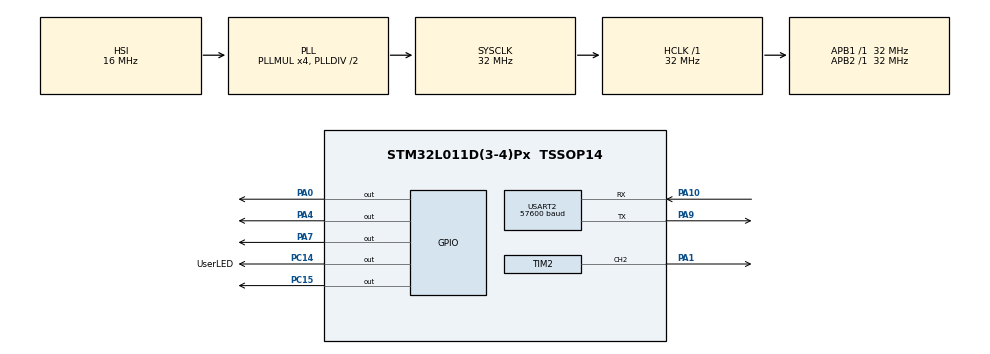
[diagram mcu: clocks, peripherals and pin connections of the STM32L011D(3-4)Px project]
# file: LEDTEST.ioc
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Dma.Request0=TIM2_CH2
Dma.TIM2_CH2.0.Direction=DMA_MEMORY_TO_PERIPH
Dma.TIM2_CH2.0.Instance=DMA1_Channel3
Dma.TIM2_CH2.0.MemDataAlignment=DMA_MDATAALIGN_BYTE
Dma.TIM2_CH2.0.MemInc=DMA_MINC_DISABLE
Dma.TIM2_CH2.0.Mode=DMA_NORMAL
Dma.TIM2_CH2.0.PeriphDataAlignment=DMA_PDATAALIGN_BYTE
Dma.TIM2_CH2.0.PeriphInc=DMA_PINC_DISABLE
Dma.TIM2_CH2.0.Priority=DMA_PRIORITY_HIGH
Mcu.Family=STM32L0
Mcu.Name=STM32L011D(3-4)Px
Mcu.Package=TSSOP14
NVIC.DMA1_Channel2_3_IRQn=true\:0\:0\:false\:false\:true
NVIC.USART2_IRQn=true\:1\:0\:true\:false\:true
PA0-CK_IN.Signal=GPIO_Output
PA1.GPIO_PuPd=GPIO_NOPULL
PA1.GPIO_Speed=GPIO_SPEED_FREQ_VERY_HIGH
PA1.Signal=S_TIM2_CH2
PA10.Mode=Multiprocessor_communication
PA10.Signal=USART2_RX
PA4.Signal=GPIO_Output
PA7.Signal=GPIO_Output
PA9.Mode=Multiprocessor_communication
PA9.Signal=USART2_TX
PC14-OSC32_IN.GPIO_Label=UserLED
PC14-OSC32_IN.GPIO_Speed=GPIO_SPEED_FREQ_MEDIUM
PC14-OSC32_IN.Signal=GPIO_Output
PC15-OSC32_OUT.Signal=GPIO_Output
ProjectManager.HeapSize=0x200
ProjectManager.StackSize=0x400
ProjectManager.TargetToolchain=MDK-ARM V5
RCC.AHBFreq_Value=32000000
RCC.APB1Freq_Value=32000000
RCC.APB1TimFreq_Value=32000000
RCC.APB2Freq_Value=32000000
RCC.APB2TimFreq_Value=32000000
RCC.HCLKFreq_Value=32000000
RCC.HSE_VALUE=8000000
RCC.HSI16_VALUE=16000000
RCC.HSI_VALUE=16000000
RCC.LSE_VALUE=32768
RCC.MSI_VALUE=2097000
RCC.PLLMUL=RCC_PLLMUL_4
RCC.SYSCLKFreq_VALUE=32000000
RCC.SYSCLKSource=RCC_SYSCLKSOURCE_PLLCLK
RCC.VCOOutputFreq_Value=64000000
SH.S_TIM2_CH2.0=TIM2_CH2,PWM Generation2 CH2
TIM2.Channel-PWM\ Generation2\ CH2=TIM_CHANNEL_2
TIM2.OCFastMode_PWM-PWM\ Generation2\ CH2=TIM_OCFAST_ENABLE
TIM2.Period=39
TIM2.Prescaler=0
TIM2.Pulse-PWM\ Generation2\ CH2=0
TIM2.TIM_MasterOutputTrigger=TIM_TRGO_UPDATE
USART2.BaudRate=57600
USART2.WordLength=UART_WORDLENGTH_8B
board=LEDTEST

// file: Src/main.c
/**
  ******************************************************************************
  * File Name          : main.c
  * Description        : Main program body
  ******************************************************************************
  *
  * COPYRIGHT(c) 2016 STMicroelectronics
  *
  * Redistribution and use in source and binary forms, with or without modification,
  * are permitted provided that the following conditions are met:
  *   1. Redistributions of source code must retain the above copyright notice,
  *      this list of conditions and the following disclaimer.
  *   2. Redistributions in binary form must reproduce the above copyright notice,
  *      this list of conditions and the following disclaimer in the documentation
  *      and/or other materials provided with the distribution.
  *   3. Neither the name of STMicroelectronics nor the names of its contributors
  *      may be used to endorse or promote products derived from this software
  *      without specific prior written permission.
  *
  * THIS SOFTWARE IS PROVIDED BY THE COPYRIGHT HOLDERS AND CONTRIBUTORS "AS IS"
  * AND ANY EXPRESS OR IMPLIED WARRANTIES, INCLUDING, BUT NOT LIMITED TO, THE
  * IMPLIED WARRANTIES OF MERCHANTABILITY AND FITNESS FOR A PARTICULAR PURPOSE ARE
  * DISCLAIMED. IN NO EVENT SHALL THE COPYRIGHT HOLDER OR CONTRIBUTORS BE LIABLE
  * FOR ANY DIRECT, INDIRECT, INCIDENTAL, SPECIAL, EXEMPLARY, OR CONSEQUENTIAL
  * DAMAGES (INCLUDING, BUT NOT LIMITED TO, PROCUREMENT OF SUBSTITUTE GOODS OR
  * SERVICES; LOSS OF USE, DATA, OR PROFITS; OR BUSINESS INTERRUPTION) HOWEVER
  * CAUSED AND ON ANY THEORY OF LIABILITY, WHETHER IN CONTRACT, STRICT LIABILITY,
  * OR TORT (INCLUDING NEGLIGENCE OR OTHERWISE) ARISING IN ANY WAY OUT OF THE USE
  * OF THIS SOFTWARE, EVEN IF ADVISED OF THE POSSIBILITY OF SUCH DAMAGE.
  *
  ******************************************************************************
  */
#include "stm32l0xx_hal.h"

/* USER CODE BEGIN Includes */

char RxData[11]={'0'};
uint8_t MyColor[3]={0};

#define UserLED_Toggle()	 HAL_GPIO_TogglePin(UserLED_GPIO_Port,UserLED_Pin)
#define UserLED_ON()  		 HAL_GPIO_WritePin(UserLED_GPIO_Port,UserLED_Pin,GPIO_PIN_SET)
#define UserLED_OFF() 		 HAL_GPIO_WritePin(UserLED_GPIO_Port,UserLED_Pin,GPIO_PIN_RESET)

#define numLEDs 9

/* USER CODE END Includes */

TIM_HandleTypeDef htim2;
DMA_HandleTypeDef hdma_tim2_ch2;

UART_HandleTypeDef huart2;

/* USER CODE BEGIN PV */
/* Private variables ---------------------------------------------------------*/
TIM_OC_InitTypeDef mysConfigOC;
/* USER CODE END PV */

void SystemClock_Config(void);
void Error_Handler(void);
static void MX_GPIO_Init(void);
static void MX_DMA_Init(void);
static void MX_USART2_UART_Init(void);
static void MX_TIM2_Init(void);

void HAL_TIM_MspPostInit(TIM_HandleTypeDef *htim);

/* USER CODE BEGIN PFP */
/* Private function prototypes -----------------------------------------------*/
#ifdef __GNUC__
/* With GCC/RAISONANCE, small printf (option LD Linker->Libraries->Small printf
   set to 'Yes') calls __io_putchar() */
#define PUTCHAR_PROTOTYPE int __io_putchar(int ch)
#else
#define PUTCHAR_PROTOTYPE int fputc(int ch, FILE *f)
#endif /* __GNUC__ */
/**
  * @brief  Retargets the C library printf function to the USART.
  * @param  None
  * @retval None
  */
PUTCHAR_PROTOTYPE
{
  /* Place your implementation of fputc here */
  /* e.g. write a character to the USART2 and Loop until the end of transmission */
  HAL_UART_Transmit(&huart2, (uint8_t *)&ch, 1,100);

  return ch;
}
/* USER CODE END PFP */

/* USER CODE BEGIN 0 */

void Din_1(void)
{
	__HAL_TIM_SET_COMPARE(&htim2, TIM_CHANNEL_2, 26);
}
void Din_0(void)
{
	__HAL_TIM_SET_COMPARE(&htim2, TIM_CHANNEL_2, 13);
}

void Send_8bits(uint8_t dat)
{
		uint8_t i;
		Din_0();
		for(i=0;i<8;i++)
		{
			if(dat & 0x80)//1,for "1",H:0.8us,L:0.45us;
			{
				Din_1();
			}
			else 	//0 ,for "0",H:0.4us,L:	0.85us
			{
			 Din_0();
			}
		   dat=dat<<1;
	 }
}
//G--R--B
//MSB first
void Send_2811_24bits(uint8_t GData,uint8_t RData,uint8_t BData)
 {
	Send_8bits(GData);
	Send_8bits(RData);
	Send_8bits(BData);
 }

 void rst()
{
	 __HAL_TIM_SetCompare(&htim2, TIM_CHANNEL_2, 0);
	 //HAL_TIM_PWM_Start(&htim2, TIM_CHANNEL_2);
	 HAL_Delay (1);
}

uint8_t AscillToNum(char mychar)
{
	uint8_t num=0;
	switch(mychar)
	{
		case '0':num=0;break;
		case '1':num=1;break;
		case '2':num=2;break;
		case '3':num=3;break;
		case '4':num=4;break;
		case '5':num=5;break;
		case '6':num=6;break;
		case '7':num=7;break;
		case '8':num=8;break;
		case '9':num=9;break;
	}
	return num;
}

typedef uint8_t  echoDeng_u8Type;

echoDeng_u8Type rBuffer[numLEDs]={0};
echoDeng_u8Type gBuffer[numLEDs]={0};
echoDeng_u8Type bBuffer[numLEDs]={0};

void setAllPixelColor(uint8_t r, uint8_t g, uint8_t b)
{
				echoDeng_u8Type i=0;
				for(i=0;i<numLEDs;i++)
				{
					rBuffer[i]=r;
					gBuffer[i]=g;
					bBuffer[i]=b;
				}
				for(i=0;i<numLEDs;i++)
				{
						Send_2811_24bits(rBuffer[i],gBuffer[i],bBuffer[i]);
				}
 }
 void setPixelColor(uint16_t n, uint8_t r, uint8_t g, uint8_t b)
 {
				echoDeng_u8Type i=0;
				rBuffer[n]=r;
				gBuffer[n]=g;
				bBuffer[n]=b;
				for(i=0;i<numLEDs;i++)
				{
						Send_2811_24bits(rBuffer[i],gBuffer[i],bBuffer[i]);
				}
 }
  void SetPixelColor(uint16_t n, uint32_t c)
 {
				echoDeng_u8Type i=0;
				rBuffer[n]=(uint8_t)(c>>16);
				gBuffer[n]=(uint8_t)(c>>8);
				bBuffer[n]=(uint8_t)c;
				for(i=0;i<numLEDs;i++)
				{
						Send_2811_24bits(rBuffer[i],gBuffer[i],bBuffer[i]);
				}
 }
void PixelUpdate()
{
	rst();
}
uint32_t Color(uint8_t r, uint8_t g, uint8_t b)
{
  return ((uint32_t)r << 16) | ((uint32_t)g <<  8) | b;
}
uint32_t Wheel(uint8_t WheelPos)
{
  WheelPos = 255 - WheelPos;
  if(WheelPos < 85)
	{
    return Color(255 - WheelPos * 3, 0, WheelPos * 3);
  }
  if(WheelPos < 170) {
    WheelPos -= 85;
    return Color(0, WheelPos * 3, 255 - WheelPos * 3);
  }
  WheelPos -= 170;
  return Color(WheelPos * 3, 255 - WheelPos * 3, 0);
}
//彩虹
void rainbow(uint8_t wait)
{
  uint16_t i, j;

  for(j=0; j<256; j++)
	{
    for(i=0; i<numLEDs; i++)
		{
      SetPixelColor(i, Wheel((i+j) & 255));
    }
		PixelUpdate();
    HAL_Delay (wait);
  }
}
// Slightly different, this makes the rainbow equally distributed throughout
void rainbowCycle(uint8_t wait)
{
  uint16_t i, j;

  for(j=0; j<256*5; j++)
	{ // 5 cycles of all colors on wheel
    for(i=0; i< numLEDs; i++)
	 {
     SetPixelColor(i, Wheel(((i * 256 / numLEDs) + j) & 255));
    }
	  PixelUpdate();
    HAL_Delay (wait);
  }
}
//Theatre-style crawling lights.呼吸灯
void theaterChase(uint32_t c, uint8_t wait)
{
  for (int j=0; j<10; j++)
	{  //do 10 cycles of chasing
    for (int q=0; q < 3; q++)
		{
      for (uint16_t i=0; i < numLEDs; i=i+3)
			{
        SetPixelColor(i+q, c);    //turn every third pixel on
      }
			PixelUpdate();
      HAL_Delay(wait);

      for (uint16_t i=0; i < numLEDs; i=i+3)
			{
       SetPixelColor(i+q, 0);        //turn every third pixel off
      }
			PixelUpdate();
    }
  }
}

//Theatre-style crawling lights with rainbow effect
void theaterChaseRainbow(uint8_t wait)
{
  for (int j=0; j < 256; j++)
	{     // cycle all 256 colors in the wheel
    for (int q=0; q < 3; q++)
		{
      for (uint16_t i=0; i < numLEDs; i=i+3)
			{
        SetPixelColor(i+q, Wheel( (i+j) % 255));    //turn every third pixel on
      }
      PixelUpdate();

      HAL_Delay(wait);

      for (uint16_t i=0; i < numLEDs; i=i+3)
			{
        SetPixelColor(i+q, 0);        //turn every third pixel off
      }
    }
  }
}
// Fill the dots one after the other with a color
void colorWipe(uint32_t c, uint8_t wait)
{
	uint16_t i=0;
  for( i=0; i<numLEDs; i++)
	{
    SetPixelColor(i, c);
    PixelUpdate();
    HAL_Delay(wait);
  }
}
/* USER CODE END 0 */

int main(void)
{

  /* USER CODE BEGIN 1 */
	uint8_t i=0;
  /* USER CODE END 1 */

  /* MCU Configuration----------------------------------------------------------*/

  /* Reset of all peripherals, Initializes the Flash interface and the Systick. */
  HAL_Init();

  /* Configure the system clock */
  SystemClock_Config();

  /* Initialize all configured peripherals */
  MX_GPIO_Init();
  MX_DMA_Init();
  MX_USART2_UART_Init();
  MX_TIM2_Init();

  /* USER CODE BEGIN 2 */
		//HAL_FLASH_Unlock();
	//printf("\n\r UART OK! \n\r");
	HAL_TIM_PWM_Start(&htim2, TIM_CHANNEL_2);
  /* USER CODE END 2 */

  /* Infinite loop */
  while (1)
  {

  /* USER CODE BEGIN 3 */

//		for(i=0;i<11;i++)
//		{
//		 RxData[i]=0;
//		}
//		for(i=0;i<3;i++)
//		{
//		 MyColor[i]=0;
//		}
		//test code
		    UserLED_Toggle();

//			  rst();
//				for(i=0;i<36;i++)
//				{
//						Send_2811_24bits(255,0,0);
//				}
//				HAL_Delay (500);
//				rst();
//				for(i=0;i<36;i++)
//				{
//						Send_2811_24bits(0,255,0);
//				}
//				HAL_Delay (500);
//				rst();
//				for(i=0;i<36;i++)
//				{
//						Send_2811_24bits(0,0,255);
//				}
//				HAL_Delay (500);
//setAllPixelColor(100,0,0);
//PixelUpdate();
//HAL_Delay (1000);
//setPixelColor(8, 0, 255, 0);
////setAllPixelColor(0,200,0);
//PixelUpdate();
//HAL_Delay (1000);
//setPixelColor(0, 0, 0, 255);
////setAllPixelColor(0,0,150);
//PixelUpdate();
//HAL_Delay (1000);

		// Some example procedures showing how to display to the pixels:
		colorWipe(Color(255, 0, 0), 50); // Red
		colorWipe(Color(0, 255, 0), 50); // Green
		colorWipe(Color(0, 0, 255), 50); // Blue
		// Send a theater pixel chase in...
		theaterChase(Color(127, 127, 127), 50); // White
		theaterChase(Color(127, 0, 0), 50); // Red
		theaterChase(Color(0, 0, 127), 50); // Blue

		rainbow(20);//彩虹
		rainbowCycle(20);//循环
		theaterChaseRainbow(50);//呼吸灯
		//test code over

//		if(HAL_UART_Receive(&huart2, RxData, 11, 10000)==HAL_OK)
//		{
//			  //printf("\n\r 接收到的数据:%s \n\r",RxData);
//				if(RxData[0]=='A' && RxData[1]=='A')
//				{
////					printf("\n\r begin explain data! \n\r");
////					for(i=0;i<11;i++)
////					{
////						printf("\n\r RxData[%d]=%d \n\r",i,RxData[i]);
////					}
//				  LED_G_Toggle();
//					MyColor[0]=AscillToNum(RxData[2])*100 + AscillToNum(RxData[3])*10 + AscillToNum(RxData[4]);
//					MyColor[1]=AscillToNum(RxData[5])*100 + AscillToNum(RxData[6])*10 + AscillToNum(RxData[7]);
//					MyColor[2]=AscillToNum(RxData[8])*100 + AscillToNum(RxData[9])*10 + AscillToNum(RxData[10]);
////					printf("\n\r RX GRB=%d %d %d \n\r",MyColor[0],MyColor[1],MyColor[2]);
//		      rst();
//				for(i=0;i<36;i++)
//				{
//						Send_2811_24bits(MyColor[0],MyColor[1],MyColor[2]);
//				}

//			 }
//		}
  }
  /* USER CODE END 3 */

}

/** System Clock Configuration
*/
void SystemClock_Config(void)
{

  RCC_OscInitTypeDef RCC_OscInitStruct;
  RCC_ClkInitTypeDef RCC_ClkInitStruct;
  RCC_PeriphCLKInitTypeDef PeriphClkInit;

  __HAL_RCC_PWR_CLK_ENABLE();

  __HAL_PWR_VOLTAGESCALING_CONFIG(PWR_REGULATOR_VOLTAGE_SCALE1);

  RCC_OscInitStruct.OscillatorType = RCC_OSCILLATORTYPE_HSI;
  RCC_OscInitStruct.HSIState = RCC_HSI_ON;
  RCC_OscInitStruct.HSICalibrationValue = 16;
  RCC_OscInitStruct.PLL.PLLState = RCC_PLL_ON;
  RCC_OscInitStruct.PLL.PLLSource = RCC_PLLSOURCE_HSI;
  RCC_OscInitStruct.PLL.PLLMUL = RCC_PLLMUL_4;
  RCC_OscInitStruct.PLL.PLLDIV = RCC_PLLDIV_2;
  if (HAL_RCC_OscConfig(&RCC_OscInitStruct) != HAL_OK)
  {
    Error_Handler();
  }

  RCC_ClkInitStruct.ClockType = RCC_CLOCKTYPE_HCLK|RCC_CLOCKTYPE_SYSCLK
                              |RCC_CLOCKTYPE_PCLK1|RCC_CLOCKTYPE_PCLK2;
  RCC_ClkInitStruct.SYSCLKSource = RCC_SYSCLKSOURCE_PLLCLK;
  RCC_ClkInitStruct.AHBCLKDivider = RCC_SYSCLK_DIV1;
  RCC_ClkInitStruct.APB1CLKDivider = RCC_HCLK_DIV1;
  RCC_ClkInitStruct.APB2CLKDivider = RCC_HCLK_DIV1;
  if (HAL_RCC_ClockConfig(&RCC_ClkInitStruct, FLASH_LATENCY_1) != HAL_OK)
  {
    Error_Handler();
  }

  PeriphClkInit.PeriphClockSelection = RCC_PERIPHCLK_USART2;
  PeriphClkInit.Usart2ClockSelection = RCC_USART2CLKSOURCE_PCLK1;
  if (HAL_RCCEx_PeriphCLKConfig(&PeriphClkInit) != HAL_OK)
  {
    Error_Handler();
  }

  HAL_SYSTICK_Config(HAL_RCC_GetHCLKFreq()/1000);

  HAL_SYSTICK_CLKSourceConfig(SYSTICK_CLKSOURCE_HCLK);

  /* SysTick_IRQn interrupt configuration */
  HAL_NVIC_SetPriority(SysTick_IRQn, 0, 0);
}

/* TIM2 init function */
static void MX_TIM2_Init(void)
{

  TIM_MasterConfigTypeDef sMasterConfig;
  TIM_OC_InitTypeDef sConfigOC;

  htim2.Instance = TIM2;
  htim2.Init.Prescaler = 0;
  htim2.Init.CounterMode = TIM_COUNTERMODE_UP;
  htim2.Init.Period = 41;
  htim2.Init.ClockDivision = TIM_CLOCKDIVISION_DIV1;
  if (HAL_TIM_PWM_Init(&htim2) != HAL_OK)
  {
    Error_Handler();
  }

  sMasterConfig.MasterOutputTrigger = TIM_TRGO_UPDATE;
  sMasterConfig.MasterSlaveMode = TIM_MASTERSLAVEMODE_DISABLE;
  if (HAL_TIMEx_MasterConfigSynchronization(&htim2, &sMasterConfig) != HAL_OK)
  {
    Error_Handler();
  }

  sConfigOC.OCMode = TIM_OCMODE_PWM1;
  sConfigOC.Pulse = 0;
  sConfigOC.OCPolarity = TIM_OCPOLARITY_HIGH;
  sConfigOC.OCFastMode = TIM_OCFAST_ENABLE;
  if (HAL_TIM_PWM_ConfigChannel(&htim2, &sConfigOC, TIM_CHANNEL_2) != HAL_OK)
  {
    Error_Handler();
  }

  HAL_TIM_MspPostInit(&htim2);

}

/* USART2 init function */
static void MX_USART2_UART_Init(void)
{

  huart2.Instance = USART2;
  huart2.Init.BaudRate = 57600;
  huart2.Init.WordLength = UART_WORDLENGTH_8B;
  huart2.Init.StopBits = UART_STOPBITS_1;
  huart2.Init.Parity = UART_PARITY_NONE;
  huart2.Init.Mode = UART_MODE_TX_RX;
  huart2.Init.HwFlowCtl = UART_HWCONTROL_NONE;
  huart2.Init.OverSampling = UART_OVERSAMPLING_16;
  huart2.Init.OneBitSampling = UART_ONE_BIT_SAMPLE_DISABLE;
  huart2.AdvancedInit.AdvFeatureInit = UART_ADVFEATURE_NO_INIT;
  if (HAL_MultiProcessor_Init(&huart2, 0, UART_WAKEUPMETHOD_IDLELINE) != HAL_OK)
  {
    Error_Handler();
  }

}

static void MX_DMA_Init(void)
{
  /* DMA controller clock enable */
  __HAL_RCC_DMA1_CLK_ENABLE();

  /* DMA interrupt init */
  /* DMA1_Channel2_3_IRQn interrupt configuration */
  HAL_NVIC_SetPriority(DMA1_Channel2_3_IRQn, 0, 0);
  HAL_NVIC_EnableIRQ(DMA1_Channel2_3_IRQn);

}

/** Configure pins as
        * Analog
        * Input
        * Output
        * EVENT_OUT
        * EXTI
*/
static void MX_GPIO_Init(void)
{

  GPIO_InitTypeDef GPIO_InitStruct;

  /* GPIO Ports Clock Enable */
  __HAL_RCC_GPIOC_CLK_ENABLE();
  __HAL_RCC_GPIOA_CLK_ENABLE();

  /*Configure GPIO pin Output Level */
  HAL_GPIO_WritePin(GPIOC, UserLED_Pin|GPIO_PIN_15, GPIO_PIN_RESET);

  /*Configure GPIO pin Output Level */
  HAL_GPIO_WritePin(GPIOA, GPIO_PIN_0|GPIO_PIN_4|GPIO_PIN_7, GPIO_PIN_RESET);

  /*Configure GPIO pin : UserLED_Pin */
  GPIO_InitStruct.Pin = UserLED_Pin;
  GPIO_InitStruct.Mode = GPIO_MODE_OUTPUT_PP;
  GPIO_InitStruct.Pull = GPIO_NOPULL;
  GPIO_InitStruct.Speed = GPIO_SPEED_FREQ_MEDIUM;
  HAL_GPIO_Init(UserLED_GPIO_Port, &GPIO_InitStruct);

  /*Configure GPIO pin : PC15 */
  GPIO_InitStruct.Pin = GPIO_PIN_15;
  GPIO_InitStruct.Mode = GPIO_MODE_OUTPUT_PP;
  GPIO_InitStruct.Pull = GPIO_NOPULL;
  GPIO_InitStruct.Speed = GPIO_SPEED_FREQ_LOW;
  HAL_GPIO_Init(GPIOC, &GPIO_InitStruct);

  /*Configure GPIO pins : PA0 PA4 PA7 */
  GPIO_InitStruct.Pin = GPIO_PIN_0|GPIO_PIN_4|GPIO_PIN_7;
  GPIO_InitStruct.Mode = GPIO_MODE_OUTPUT_PP;
  GPIO_InitStruct.Pull = GPIO_NOPULL;
  GPIO_InitStruct.Speed = GPIO_SPEED_FREQ_LOW;
  HAL_GPIO_Init(GPIOA, &GPIO_InitStruct);

}

void Error_Handler(void)
{
  /* USER CODE BEGIN Error_Handler */
  /* User can add his own implementation to report the HAL error return state */
  while(1)
  {
		UserLED_Toggle();
		HAL_Delay (50);
  }
  /* USER CODE END Error_Handler */
}

/************************ (C) COPYRIGHT STMicroelectronics *****END OF FILE****/
